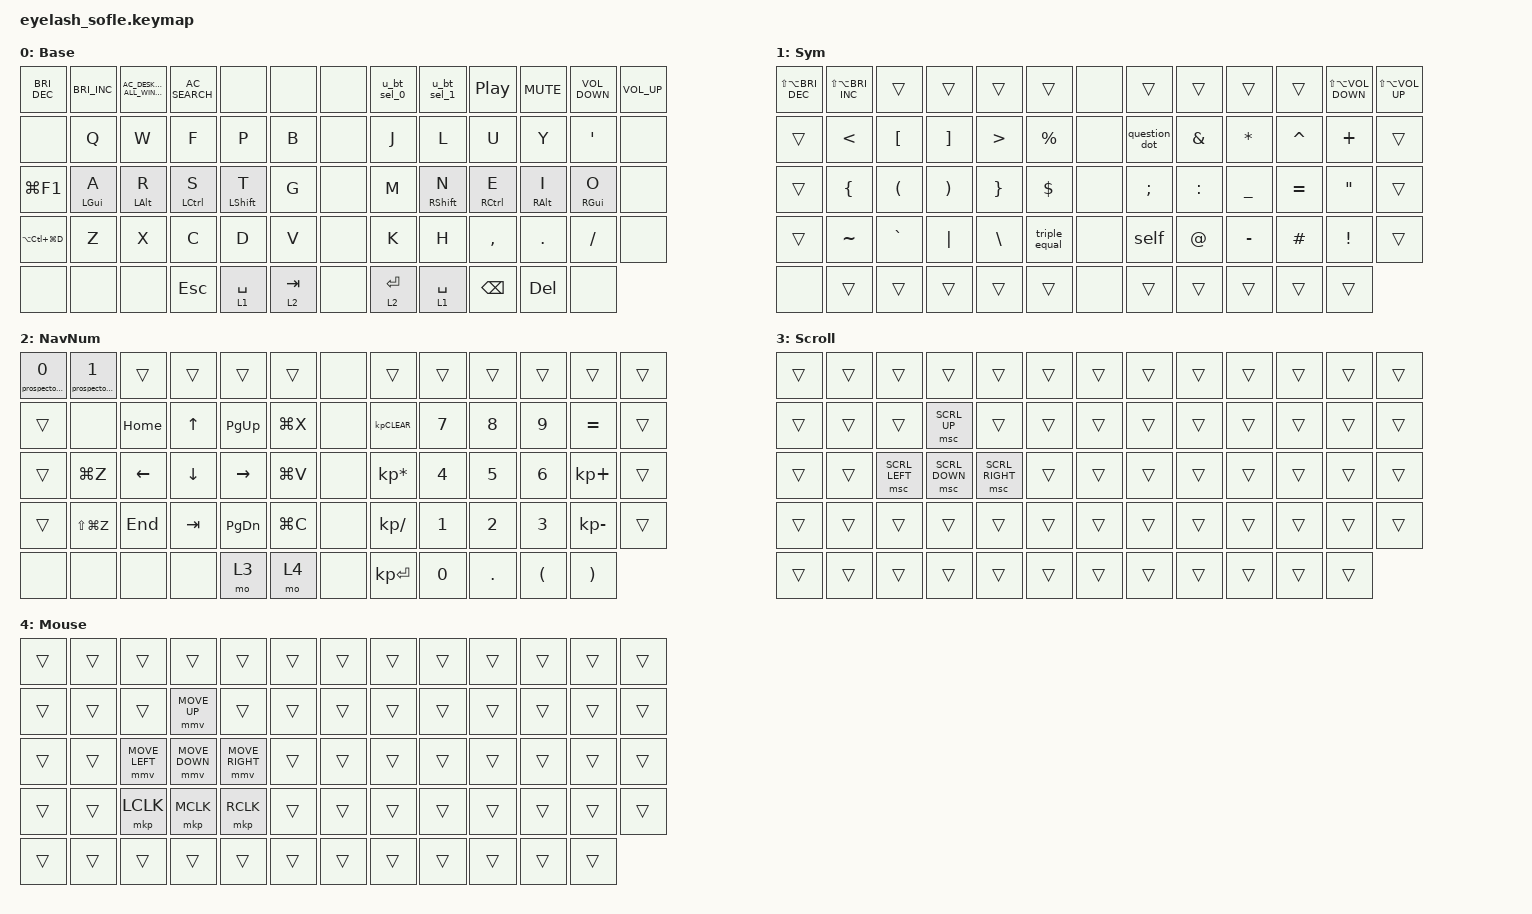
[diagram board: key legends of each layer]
/*
 * Sofle (58-key) - Miryoku (Colemak Mod-DH) + macOS shortcut surface
 * =================================================================
 * Physical board: standard 58-key Sofle -- 6 cols x 4 rows per hand (48) +
 * 5 thumb keys per hand (10). NO encoder, NO center arrow pad, NO mute key
 * (those firmware positions exist on the PCB but are unpopulated here).
 * Dead matrix positions 6, 19, 32, 45, 52, 58 are &none on every layer.
 *
 * THE 36-KEY MIRYOKU CORE (does all typing):
 *   - 30 alphas on the inner 5 cols x 3 rows of each hand
 *   - 6 thumb layer-taps on the INNER 3 of each 5-key thumb cluster:
 *       left  55/56/57 = MEDIA/NAV/MOUSE   right 59/60/61 = SYM/NUM/FUN
 *   - GACS home-row mods (positional hold-tap -- see DEVIATIONS D1)
 * Layers: 0 BASE 1 NAV 2 MOUSE 3 MEDIA 4 NUM 5 SYM 6 FUN 7 BUTTON 8 SHORTCUTS
 *
 * THE 22 EXTRA KEYS (non-typing, act on macOS), in two tiers:
 *   TIER 1 -- bare keys: instant, no-layer actions for when you are NOT
 *     typing (one hand on the mouse, or dictating). Number row, outer
 *     columns, and the OUTER 2 thumb keys of each cluster (53/54, 62/63).
 *   TIER 2 -- hold the outer-most right thumb (63) for the SHORTCUTS layer:
 *     window tiling + system actions, for when both hands are on the board.
 *
 * macOS host-side setup needed (see MIRYOKU_SETUP.md):
 *   F13 = Dictation, F14 = OCR -> bind in System Settings / your OCR app.
 *   Window tiling uses Ctrl+Opt+Cmd + arrows/F/C -> reassign the native
 *   "Move & Resize" menu items to these via Keyboard Shortcuts > App
 *   Shortcuts (native tiling's Globe-key defaults can't be sent by a
 *   non-Apple keyboard).
 *
 * =========================================================================
 * DEVIATIONS FROM CANONICAL MIRYOKU (manna-harbour/miryoku_zmk) -- tracked
 *  D1. Home-row mods + Z// (BUTTON) + thumb tap-holds use tuned positional
 *      hold-taps ("balanced" + hold-trigger-key-positions + prior-idle)
 *      instead of canonical "tap-preferred" u_mt/u_lt. WHY: same tap/hold
 *      meaning, far fewer misfires. Revert those behaviors to "tap-preferred"
 *      for stock feel.
 *  D2. Layer-management meta keys (&u_to_U_*, layer-lock tap-dances) -> &none;
 *      single fixed Colemak-DH base. &bootloader kept on each layer.
 *  D3. Clipboard = macOS variant (Cmd-based), per MIRYOKU_CLIPBOARD_MAC.
 * EXTENSIONS (beyond Miryoku's 36-key spec):
 *  E1. The 22 extra Sofle keys carry the macOS shortcut surface above.
 * =========================================================================
 */

#define ZMK_POINTING_DEFAULT_MOVE_VAL 1200  // 600
#define ZMK_POINTING_DEFAULT_SCRL_VAL 25   // 10

#include <input/processors.dtsi>
#include <zephyr/dt-bindings/input/input-event-codes.h>
#include <dt-bindings/zmk/modifiers.h>
#include <behaviors/prospector_brightness.dtsi>
#include <behaviors.dtsi>
#include <dt-bindings/zmk/bt.h>
#include <dt-bindings/zmk/keys.h>
#include <dt-bindings/zmk/outputs.h>
#include <dt-bindings/zmk/pointing.h>

// ---- Layer indices -------------------------------------------------------

#define BASE   0
#define NAV    1
#define MOUSE  2
#define MEDIA  3
#define NUM    4
#define SYM    5
#define FUN    6
#define BUTTON 7
#define SHORTCUTS 8

// ---- Positional hold-tap key groups (matrix positions) -------------------
// Left alphas / right alphas / the 6 Miryoku thumb keys. A home-row mod only
// becomes a modifier when paired with a key on the *opposite* hand or a thumb.

#define KEYS_L 14 15 16 17 18 27 28 29 30 31 40 41 42 43 44
#define KEYS_R 20 21 22 23 24 33 34 35 36 37 46 47 48 49 50
#define KEYS_T 55 56 57 59 60 61

&msc {
    acceleration-exponent = <1>;
    time-to-max-speed-ms = <100>;
    delay-ms = <0>;
};

&mmv {
    time-to-max-speed-ms = <500>;
    acceleration-exponent = <1>;
    trigger-period-ms = <16>;
};

&mmv_input_listener { input-processors = <&zip_xy_scaler 2 1>; };

&msc_input_listener { input-processors = <&zip_scroll_scaler 2 1>; };

&soft_off { hold-time-ms = <2000>; };

/ {
    behaviors {
        // [D1] Home-row mods, left hand. hold = modifier, tap = key.
        // Deviates from canonical "tap-preferred" u_mt: positional + idle
        // guard for fewer misfires (see header).

        hml: home_row_mod_left {
            compatible = "zmk,behavior-hold-tap";
            #binding-cells = <2>;
            flavor = "balanced";
            tapping-term-ms = <200>;
            quick-tap-ms = <175>;
            require-prior-idle-ms = <125>;
            hold-trigger-key-positions = <KEYS_R KEYS_T>;
            hold-trigger-on-release;
            bindings = <&kp>, <&kp>;
        };

        hmr: home_row_mod_right {
            compatible = "zmk,behavior-hold-tap";
            #binding-cells = <2>;
            flavor = "balanced";
            tapping-term-ms = <200>;
            quick-tap-ms = <175>;
            require-prior-idle-ms = <125>;
            hold-trigger-key-positions = <KEYS_L KEYS_T>;
            hold-trigger-on-release;
            bindings = <&kp>, <&kp>;
        };

        // [D1] Layer-tap on the outer bottom keys (Z / SLASH).

        ltl: layer_tap_left {
            compatible = "zmk,behavior-hold-tap";
            #binding-cells = <2>;
            flavor = "balanced";
            tapping-term-ms = <200>;
            quick-tap-ms = <175>;
            require-prior-idle-ms = <125>;
            hold-trigger-key-positions = <KEYS_R KEYS_T>;
            hold-trigger-on-release;
            bindings = <&mo>, <&kp>;
        };

        ltr: layer_tap_right {
            compatible = "zmk,behavior-hold-tap";
            #binding-cells = <2>;
            flavor = "balanced";
            tapping-term-ms = <200>;
            quick-tap-ms = <175>;
            require-prior-idle-ms = <125>;
            hold-trigger-key-positions = <KEYS_L KEYS_T>;
            hold-trigger-on-release;
            bindings = <&mo>, <&kp>;
        };

        // [D1] Thumb layer-taps. No positional restriction (deliberate).

        tlt: thumb_layer_tap {
            compatible = "zmk,behavior-hold-tap";
            #binding-cells = <2>;
            flavor = "balanced";
            tapping-term-ms = <200>;
            quick-tap-ms = <175>;
            bindings = <&mo>, <&kp>;
        };

        // Canonical Miryoku MEDIA-layer Shift functions (mod-morph: tap =
        // action, Shift+tap = the alternate). From manna-harbour/miryoku_zmk.

        u_caps_word: u_caps_word {
            compatible = "zmk,behavior-mod-morph";
            #binding-cells = <0>;
            bindings = <&caps_word>, <&kp CAPS>;

            mods = <(MOD_LSFT|MOD_RSFT)>;
        };

        u_out_tog: u_out_tog {
            compatible = "zmk,behavior-mod-morph";
            #binding-cells = <0>;
            bindings = <&out OUT_TOG>, <&out OUT_USB>;

            mods = <(MOD_LSFT|MOD_RSFT)>;
        };

        u_bt_sel_0: u_bt_sel_0 {
            compatible = "zmk,behavior-mod-morph";
            #binding-cells = <0>;
            bindings = <&bt BT_SEL 0>, <&u_bt_clr_0>;

            mods = <(MOD_LSFT|MOD_RSFT)>;
        };

        u_bt_sel_1: u_bt_sel_1 {
            compatible = "zmk,behavior-mod-morph";
            #binding-cells = <0>;
            bindings = <&bt BT_SEL 1>, <&u_bt_clr_1>;

            mods = <(MOD_LSFT|MOD_RSFT)>;
        };

        u_bt_sel_2: u_bt_sel_2 {
            compatible = "zmk,behavior-mod-morph";
            #binding-cells = <0>;
            bindings = <&bt BT_SEL 2>, <&u_bt_clr_2>;

            mods = <(MOD_LSFT|MOD_RSFT)>;
        };

        u_bt_sel_3: u_bt_sel_3 {
            compatible = "zmk,behavior-mod-morph";
            #binding-cells = <0>;
            bindings = <&bt BT_SEL 3>, <&u_bt_clr_3>;

            mods = <(MOD_LSFT|MOD_RSFT)>;
        };
    };

    macros {
        // Shift+BT: select the profile, then clear its bond (canonical).

        u_bt_clr_0: u_bt_clr_0 {
            compatible = "zmk,behavior-macro";
            #binding-cells = <0>;
            wait-ms = <0>;
            bindings = <&bt BT_SEL 0 &bt BT_CLR>;
        };

        u_bt_clr_1: u_bt_clr_1 {
            compatible = "zmk,behavior-macro";
            #binding-cells = <0>;
            wait-ms = <0>;
            bindings = <&bt BT_SEL 1 &bt BT_CLR>;
        };

        u_bt_clr_2: u_bt_clr_2 {
            compatible = "zmk,behavior-macro";
            #binding-cells = <0>;
            wait-ms = <0>;
            bindings = <&bt BT_SEL 2 &bt BT_CLR>;
        };

        u_bt_clr_3: u_bt_clr_3 {
            compatible = "zmk,behavior-macro";
            #binding-cells = <0>;
            wait-ms = <0>;
            bindings = <&bt BT_SEL 3 &bt BT_CLR>;
        };

        self: self {
            compatible = "zmk,behavior-macro";
            #binding-cells = <0>;
            bindings = <&none &kp S &kp E &kp L &kp F &kp DOT>;
            label = "SELF";
        };

        triple_equal: triple_equal {
            compatible = "zmk,behavior-macro";
            #binding-cells = <0>;
            bindings = <&none &kp EQUAL &kp EQUAL &kp EQUAL>;
            label = "TRIPLE_EQUAL";
        };

        question_dot: question_dot {
            compatible = "zmk,behavior-macro";
            #binding-cells = <0>;
            bindings = <&none &kp QMARK &kp DOT>;
            label = "QUESTION_DOT";
        };
    };

    combos {
        compatible = "zmk,combos";

        // Hold Q + R + Z together ~2s -> BLE deep sleep (wake with reset).

        softoff {
            bindings = <&soft_off>;
            key-positions = <14 28 40>;
        };
    };

    keymap {
        compatible = "zmk,keymap";

        // ============================ BASE ============================
        // Mouse lives on the RIGHT hand, so the LEFT-side bare keys hold the
        // while-mousing essentials (left hand is the only one free):
        //   Top L : MissionControl Spotlight Screenshot-region PlayPause Space< Space>
        //   L-out : VolUp VolDn Mute        L-thumbs: 53 OCR  54 Dictation
        // RIGHT-side bare keys are for not-mousing / both-hands moments:
        //   Top R : AppExpose Back Fwd Look-up Screenshot-tool Fullscreen
        //   R-out : Prev Next BriUp          R-thumbs: 62 BriDn  63 hold->SHORTCUTS

        Base {
            bindings = <
&kp C_BRI_DEC      &kp C_BRI_INC  &kp C_AC_DESKTOP_SHOW_ALL_WINDOWS  &kp C_AC_SEARCH  &none         &none         &none  &u_bt_sel_0   &u_bt_sel_1   &kp C_PLAY_PAUSE  &kp C_MUTE   &kp C_VOLUME_DOWN  &kp C_VOLUME_UP
&none              &kp Q          &kp W                              &kp F            &kp P         &kp B         &none  &kp J         &kp L         &kp U             &kp Y        &kp SQT            &none
&kp LG(F1)         &hml LGUI A    &hml LALT R                        &hml LCTRL S     &hml LSHFT T  &kp G         &none  &kp M         &hmr RSHFT N  &hmr RCTRL E      &hmr RALT I  &hmr RGUI O        &none
&kp LA(LC(LG(D)))  &kp Z          &kp X                              &kp C            &kp D         &kp V         &none  &kp K         &kp H         &kp COMMA         &kp PERIOD   &kp FSLH           &none
&none              &none          &none                              &kp ESCAPE       &tlt 1 SPACE  &tlt 2 TAB    &none  &tlt 2 ENTER  &tlt 1 SPACE  &kp BACKSPACE     &kp DELETE   &none
            >;

            display-name = "Base";
        };

        Sym {
            bindings = <
&kp LS(LA(C_BRIGHTNESS_DEC))  &kp LS(LA(C_BRIGHTNESS_INC))  &trans                &trans                 &trans            &trans           &none  &trans         &trans         &trans          &trans     &kp LS(LA(C_VOLUME_DOWN))  &kp LS(LA(C_VOLUME_UP))
&trans                        &kp LESS_THAN                 &kp LEFT_BRACKET      &kp RIGHT_BRACKET      &kp GREATER_THAN  &kp PERCENT      &none  &question_dot  &kp AMPERSAND  &kp ASTERISK    &kp CARET  &kp PLUS                   &trans
&trans                        &kp LEFT_BRACE                &kp LEFT_PARENTHESIS  &kp RIGHT_PARENTHESIS  &kp RIGHT_BRACE   &kp DOLLAR       &none  &kp SEMICOLON  &kp COLON      &kp UNDERSCORE  &kp EQUAL  &kp DOUBLE_QUOTES          &trans
&trans                        &kp TILDE                     &kp GRAVE             &kp PIPE               &kp BACKSLASH     &triple_equal    &none  &self          &kp AT         &kp MINUS       &kp HASH   &kp EXCLAMATION            &trans
&none                         &trans                        &trans                &trans                 &trans            &trans           &none  &trans         &trans         &trans          &trans     &trans
            >;

            display-name = "Sym";
        };

        NavNum {
            bindings = <
&prospector_brightness 0  &prospector_brightness 1  &trans          &trans          &trans           &trans       &none  &trans           &trans        &trans        &trans                &trans                 &trans
&trans                    &none                     &kp HOME        &kp UP_ARROW    &kp PAGE_UP      &kp LG(X)    &none  &kp KP_CLEAR     &kp NUMBER_7  &kp NUMBER_8  &kp NUMBER_9          &kp EQUAL              &trans
&trans                    &kp LG(Z)                 &kp LEFT_ARROW  &kp DOWN_ARROW  &kp RIGHT_ARROW  &kp LG(V)    &none  &kp KP_MULTIPLY  &kp NUMBER_4  &kp NUMBER_5  &kp NUMBER_6          &kp KP_PLUS            &trans
&trans                    &kp LS(LG(Z))             &kp END         &kp TAB         &kp PAGE_DOWN    &kp LG(C)    &none  &kp KP_DIVIDE    &kp NUMBER_1  &kp NUMBER_2  &kp NUMBER_3          &kp KP_SUBTRACT        &trans
&none                     &none                     &none           &none           &mo 3            &mo 4        &none  &kp KP_ENTER     &kp NUMBER_0  &kp DOT       &kp LEFT_PARENTHESIS  &kp RIGHT_PARENTHESIS
            >;

            display-name = "NavNum";
        };

        Scroll {
            bindings = <
&trans  &trans  &trans          &trans          &trans           &trans    &trans  &trans  &trans  &trans  &trans  &trans  &trans
&trans  &trans  &trans          &msc SCRL_UP    &trans           &trans    &trans  &trans  &trans  &trans  &trans  &trans  &trans
&trans  &trans  &msc SCRL_LEFT  &msc SCRL_DOWN  &msc SCRL_RIGHT  &trans    &trans  &trans  &trans  &trans  &trans  &trans  &trans
&trans  &trans  &trans          &trans          &trans           &trans    &trans  &trans  &trans  &trans  &trans  &trans  &trans
&trans  &trans  &trans          &trans          &trans           &trans    &trans  &trans  &trans  &trans  &trans  &trans
            >;
        };

        Mouse {
            bindings = <
&trans  &trans  &trans          &trans          &trans           &trans    &trans  &trans  &trans  &trans  &trans  &trans  &trans
&trans  &trans  &trans          &mmv MOVE_UP    &trans           &trans    &trans  &trans  &trans  &trans  &trans  &trans  &trans
&trans  &trans  &mmv MOVE_LEFT  &mmv MOVE_DOWN  &mmv MOVE_RIGHT  &trans    &trans  &trans  &trans  &trans  &trans  &trans  &trans
&trans  &trans  &mkp LCLK       &mkp MCLK       &mkp RCLK        &trans    &trans  &trans  &trans  &trans  &trans  &trans  &trans
&trans  &trans  &trans          &trans          &trans           &trans    &trans  &trans  &trans  &trans  &trans  &trans
            >;
        };
    };
};
